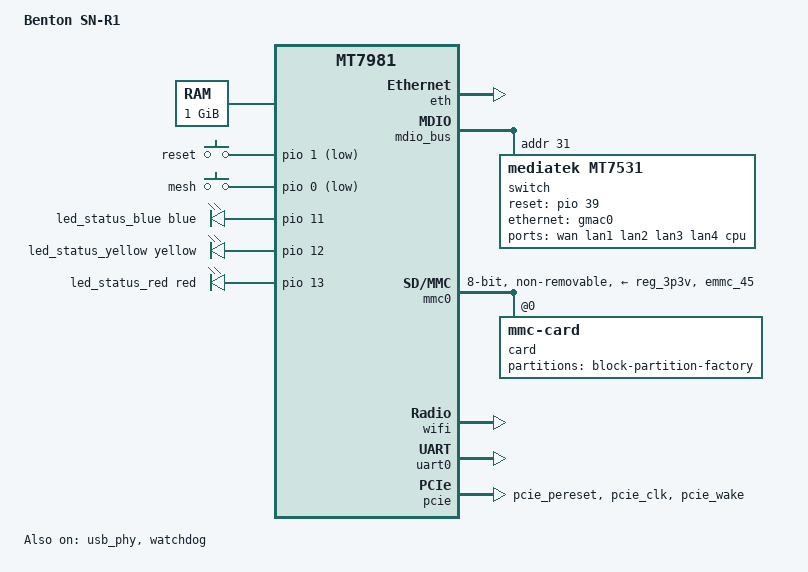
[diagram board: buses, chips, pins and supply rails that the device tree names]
// SPDX-License-Identifier: GPL-2.0-or-later OR MIT
/*
 * Copyright (C) 2026
 * Device: Benton / Baitong SN-R1
 */

/dts-v1/;

#include <dt-bindings/gpio/gpio.h>
#include <dt-bindings/input/input.h>
#include <dt-bindings/leds/common.h>
#include "mt7981b.dtsi"

/ {
	model = "Benton SN-R1";
	compatible = "benton,sn-r1", "mediatek,mt7981";

	aliases {
		serial0 = &uart0;
		led-boot = &led_status_red;
		led-failsafe = &led_status_red;
		led-running = &led_status_blue;
		led-upgrade = &led_status_yellow;
	};

	chosen {
		bootargs = "root=PARTLABEL=rootfs rootwait";
		stdout-path = "serial0:115200n8";
	};

	memory@40000000 {
		device_type = "memory";
		reg = <0 0x40000000 0 0x40000000>;
	};

	gpio-keys {
		compatible = "gpio-keys";

		button-reset {
			label = "reset";
			linux,code = <KEY_RESTART>;
			gpios = <&pio 1 GPIO_ACTIVE_LOW>;
		};

		button-mesh {
			label = "mesh";
			linux,code = <BTN_9>;
			linux,input-type = <EV_SW>;
			gpios = <&pio 0 GPIO_ACTIVE_LOW>;
		};
	};

	gpio-leds {
		compatible = "gpio-leds";

		led_status_blue: led-0 {
			function = LED_FUNCTION_STATUS;
			color = <LED_COLOR_ID_BLUE>;
			gpios = <&pio 11 GPIO_ACTIVE_HIGH>;
		};

		led_status_yellow: led-1 {
			function = LED_FUNCTION_STATUS;
			color = <LED_COLOR_ID_YELLOW>;
			gpios = <&pio 12 GPIO_ACTIVE_HIGH>;
		};

		led_status_red: led-2 {
			function = LED_FUNCTION_FAULT;
			color = <LED_COLOR_ID_RED>;
			gpios = <&pio 13 GPIO_ACTIVE_HIGH>;
		};
	};
};

&eth {
	status = "okay";

	gmac0: mac@0 {
		compatible = "mediatek,eth-mac";
		reg = <0>;
		phy-mode = "2500base-x";

		nvmem-cells = <&macaddr_factory_2a 0>;
		nvmem-cell-names = "mac-address";

		fixed-link {
			speed = <2500>;
			full-duplex;
			pause;
		};
	};
};

&mdio_bus {
	switch: switch@1f {
		compatible = "mediatek,mt7531";
		reg = <31>;
		reset-gpios = <&pio 39 GPIO_ACTIVE_HIGH>;
	};
};

&switch {
	ports {
		#address-cells = <1>;
		#size-cells = <0>;

		port@0 {
			reg = <0>;
			label = "wan";
			nvmem-cells = <&macaddr_factory_24 0>;
			nvmem-cell-names = "mac-address";
		};

		port@1 {
			reg = <1>;
			label = "lan1";
		};

		port@2 {
			reg = <2>;
			label = "lan2";
		};

		port@3 {
			reg = <3>;
			label = "lan3";
		};

		port@4 {
			reg = <4>;
			label = "lan4";
		};

		port@6 {
			reg = <6>;
			label = "cpu";
			ethernet = <&gmac0>;
			phy-mode = "2500base-x";

			fixed-link {
				speed = <2500>;
				full-duplex;
				pause;
			};
		};
	};
};

&mmc0 {
	#address-cells = <1>;
	#size-cells = <0>;
	bus-width = <8>;
	cap-mmc-highspeed;
	max-frequency = <52000000>;
	non-removable;
	no-sd;
	no-sdio;
	pinctrl-names = "default", "state_uhs";
	pinctrl-0 = <&mmc0_pins_default>;
	pinctrl-1 = <&mmc0_pins_uhs>;
	vmmc-supply = <&reg_3p3v>;
	status = "okay";

	card@0 {
		compatible = "mmc-card";
		reg = <0>;

		block {
			compatible = "block-device";

			partitions {
				block-partition-factory {
					partname = "factory";

					nvmem-layout {
						compatible = "fixed-layout";
						#address-cells = <1>;
						#size-cells = <1>;

						eeprom_factory_0: eeprom@0 {
							reg = <0x0 0x1000>;
						};

						macaddr_factory_24: macaddr@24 {
							compatible = "mac-base";
							reg = <0x24 0x6>;
							#nvmem-cell-cells = <1>;
						};

						macaddr_factory_2a: macaddr@2a {
							compatible = "mac-base";
							reg = <0x2a 0x6>;
							#nvmem-cell-cells = <1>;
						};
					};
				};
			};
		};
	};
};

&pio {
	mmc0_pins_default: mmc0-pins-default {
		mux {
			function = "flash";
			groups = "emmc_45";
		};
	};

	mmc0_pins_uhs: mmc0-pins-uhs {
		mux {
			function = "flash";
			groups = "emmc_45";
		};
	};

	pcie_pins: pcie-pins {
		mux {
			function = "pcie";
			groups = "pcie_pereset", "pcie_clk", "pcie_wake";
		};
	};
};

&wifi {
	nvmem-cells = <&eeprom_factory_0>;
	nvmem-cell-names = "eeprom";
	status = "okay";
};

&uart0 {
	status = "okay";
};

&usb_phy {
	status = "okay";
};

&pcie {
	pinctrl-names = "default";
	pinctrl-0 = <&pcie_pins>;
	status = "okay";
};

&watchdog {
	status = "okay";
};
